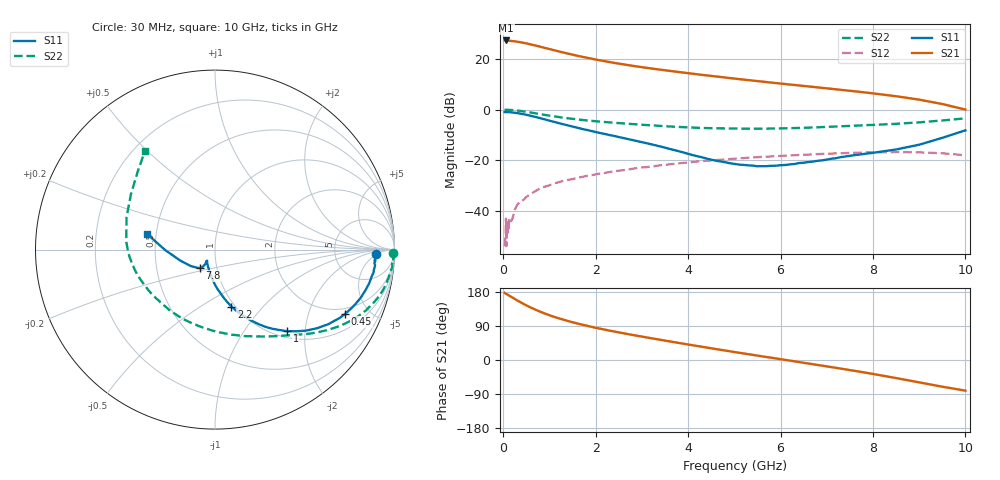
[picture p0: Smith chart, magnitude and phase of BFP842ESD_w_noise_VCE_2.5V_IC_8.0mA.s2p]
! Infineon Technologies  Discrete & RF Semiconductors
! BFP842ESD
! VCE =  2.5 V,  IC =  8.0 mA
! Common Emitter S-Parameters:  May 2012
# GHz  S  MA  R  50
!  f  S11  S21  S12  S22
! GHz  MAG  ANG  MAG  ANG  MAG  ANG  MAG  ANG
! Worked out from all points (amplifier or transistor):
!   99 points, 30 MHz to 10 GHz, reference 50 ohm
!   highest |S21| = 27.4 dB at 60 MHz (marker M1)
!   |S21| within 3 dB of that: start of sweep to 912.9 MHz
!   unconditionally stable (mu >= 1): 3.124 GHz to end of sweep
!   at 350 MHz: K = 0.23, MSG = 31.7 dB, |S12| = -36.6 dB
!   at 3.5 GHz: K = 1.03, MAG = 17.6 dB, |S12| = -21.9 dB
!   at 10 GHz: K = 1.87, MAG = 3.7 dB, |S12| = -18.0 dB
!   lowest NFmin = 0.54 dB at 450 MHz
!   S11 on the Smith chart (normalised r, x): 30 MHz: 17, -5; 450 MHz: 1.70, -3.51; 1 GHz: 1.12, -1.61; 2.2 GHz: 0.96, -0.69; 7.8 GHz: 0.83, -0.17; 10 GHz: 0.44, +0.09
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0.03  0.899 -1.7  23.23 177.2  0.002 124.7  0.9905 -1.0
0.05  0.8957 -3.2  22.99 175.3  0.0035 42.1  0.9951 -2.4
0.06  0.8906 -4.0  23.35 174.7  0.007 15.9  0.9952 -3.1
0.07  0.8958 -4.0  23.1 174.2  0.002 116.4  0.9948 -2.9
0.08  0.8909 -4.9  23.13 173.3  0.006 29.7  0.9874 -3.6
0.09  0.8961 -5.5  22.82 173.0  0.0036 89.7  0.993 -3.9
0.25  0.8677 -15.3  22.48 161.1  0.0105 79.0  0.972 -11.6
0.45  0.8085 -26.3  20.85 147.3  0.0167 70.6  0.921 -19.9
0.6  0.7546 -33.5  19.44 138.2  0.0218 68.4  0.8771 -25.3
0.7  0.717 -37.7  18.51 132.7  0.0246 65.8  0.8462 -28.4
1  0.6065 -48.5  15.79 118.1  0.032 59.9  0.762 -36.3
1.3  0.5143 -56.8  13.49 106.5  0.039 55.8  0.6936 -42.7
1.7  0.4173 -65.2  11.14 93.5  0.0466 51.9  0.6268 -49.6
2.2  0.3304 -73.9  9.08 80.1  0.056 46.6  0.5698 -58.1
2.7  0.2624 -80.8  7.6 68.3  0.0655 41.9  0.526 -66.7
3.4  0.1869 -91.3  6.17 53.3  0.0796 34.4  0.4769 -80.7
4.1  0.1265 -103.5  5.132 38.9  0.0921 26.4  0.4425 -97.1
5.1  0.0821 -122.2  4.023 19.2  0.109 13.8  0.4216 -120.8
6.7  0.0941 -124.2  2.821 -11.1  0.1308 -7.3  0.4444 -156.4
7.8  0.133 -130.3  2.205 -32.7  0.1424 -24.5  0.4906 177.5
8.5  0.1632 -145.8  1.844 -47.7  0.1451 -37.2  0.5249 159.9
10  0.3901 166.9  1.004 -80.8  0.1255 -68.5  0.6724 125.6
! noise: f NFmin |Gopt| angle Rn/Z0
0.45  0.54  0.21  2  0.1
0.9  0.55  0.22  7  0.1
1.5  0.57  0.23  18  0.09
1.9  0.58  0.22  25  0.09
2.4  0.59  0.18  33  0.08
3.5  0.67  0.11  86  0.08
4  0.7  0.1  115  0.08
5  0.76  0.11  136  0.08
5.5  0.88  0.11  162  0.07
6  0.99  0.11  178  0.06
